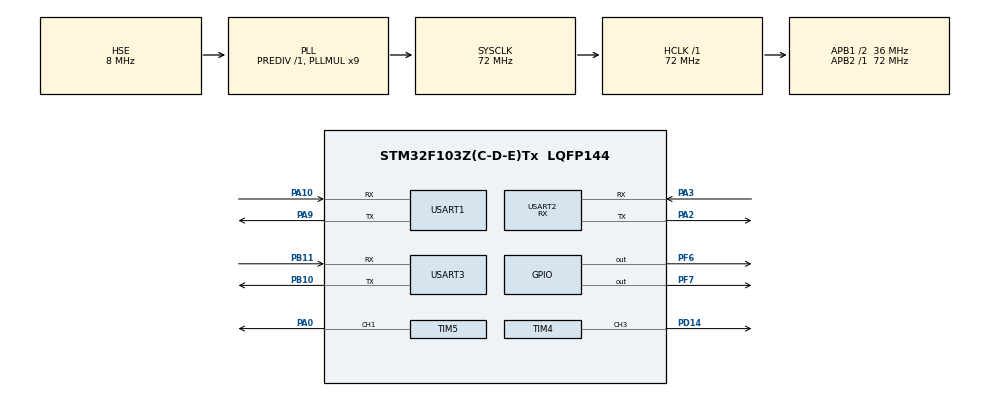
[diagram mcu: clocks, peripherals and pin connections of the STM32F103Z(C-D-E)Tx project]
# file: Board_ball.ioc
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Mcu.Family=STM32F1
Mcu.Name=STM32F103Z(C-D-E)Tx
Mcu.Package=LQFP144
NVIC.PriorityGroup=NVIC_PRIORITYGROUP_2
NVIC.TIM7_IRQn=true\:3\:3\:true\:false\:true\:true\:true\:true
NVIC.USART1_IRQn=true\:3\:2\:true\:false\:true\:true\:true\:true
NVIC.USART2_IRQn=true\:0\:1\:true\:false\:true\:true\:true\:true
NVIC.USART3_IRQn=true\:3\:1\:true\:false\:true\:true\:true\:true
OSC_IN.Mode=HSE-External-Oscillator
OSC_IN.Signal=RCC_OSC_IN
OSC_OUT.Mode=HSE-External-Oscillator
OSC_OUT.Signal=RCC_OSC_OUT
PA0-WKUP.Signal=S_TIM5_CH1
PA10.Mode=Asynchronous
PA10.Signal=USART1_RX
PA13.Mode=Serial_Wire
PA13.Signal=SYS_JTMS-SWDIO
PA14.Mode=Serial_Wire
PA14.Signal=SYS_JTCK-SWCLK
PA2.Mode=Asynchronous
PA2.Signal=USART2_TX
PA3.GPIO_PuPd=GPIO_PULLUP
PA3.Mode=Asynchronous
PA3.Signal=USART2_RX
PA9.Mode=Asynchronous
PA9.Signal=USART1_TX
PB10.Mode=Asynchronous
PB10.Signal=USART3_TX
PB11.Mode=Asynchronous
PB11.Signal=USART3_RX
PD14.Signal=S_TIM4_CH3
PF6.PinState=GPIO_PIN_SET
PF6.Signal=GPIO_Output
PF7.Signal=GPIO_Output
ProjectManager.HeapSize=0x200
ProjectManager.StackSize=0x400
ProjectManager.TargetToolchain=MDK-ARM V5.32
RCC.AHBFreq_Value=72000000
RCC.APB1CLKDivider=RCC_HCLK_DIV2
RCC.APB1Freq_Value=36000000
RCC.APB1TimFreq_Value=72000000
RCC.APB2Freq_Value=72000000
RCC.APB2TimFreq_Value=72000000
RCC.HCLKFreq_Value=72000000
RCC.PLLMUL=RCC_PLL_MUL9
RCC.PLLSourceVirtual=RCC_PLLSOURCE_HSE
RCC.SYSCLKFreq_VALUE=72000000
RCC.SYSCLKSource=RCC_SYSCLKSOURCE_PLLCLK
RCC.USBFreq_Value=72000000
SH.S_TIM4_CH3.0=TIM4_CH3,PWM Generation3 CH3
SH.S_TIM5_CH1.0=TIM5_CH1,PWM Generation1 CH1
TIM4.AutoReloadPreload=TIM_AUTORELOAD_PRELOAD_ENABLE
TIM4.Channel-PWM\ Generation3\ CH3=TIM_CHANNEL_3
TIM4.OCMode_PWM-PWM\ Generation3\ CH3=TIM_OCMODE_PWM1
TIM4.Period=20000-1
TIM4.Prescaler=72-1
TIM4.Pulse-PWM\ Generation3\ CH3=1166
TIM5.AutoReloadPreload=TIM_AUTORELOAD_PRELOAD_ENABLE
TIM5.Channel-PWM\ Generation1\ CH1=TIM_CHANNEL_1
TIM5.Period=20000-1
TIM5.Prescaler=72-1
TIM5.Pulse-PWM\ Generation1\ CH1=1166
TIM7.Period=200-1
TIM7.Prescaler=7200-1
USART1.VirtualMode=VM_ASYNC
USART2.Mode=MODE_RX
USART2.VirtualMode=VM_ASYNC
USART3.VirtualMode=VM_ASYNC
VP_TIM7_VS_ClockSourceINT.Mode=Enable_Timer
board=custom

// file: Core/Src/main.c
/* USER CODE BEGIN Header */
/**
  ******************************************************************************
  * @file           : main.c
  * @brief          : Main program body
  ******************************************************************************
  * @attention
  *
  * Copyright (c) 2023 STMicroelectronics.
  * All rights reserved.
  *
  * This software is licensed under terms that can be found in the LICENSE file
  * in the root directory of this software component.
  * If no LICENSE file comes with this software, it is provided AS-IS.
  *
  ******************************************************************************
  */
/* USER CODE END Header */
#include "main.h"
#include "tim.h"
#include "usart.h"
#include "gpio.h"

/* USER CODE BEGIN Includes */
#include <stdio.h>
#include "bsp_sys.h"
#include "openmv.h"
#include "control.h"
#include "bsp_pid.h"
#include "protocol.h"

#define DEBUG_CONFIG
/* USER CODE END Includes */

/* USER CODE BEGIN PTD */
#define DEBUG_CONFIG
#ifdef DEBUG_CONFIG
	extern UART_HandleTypeDef huart1;
#endif
	extern UART_HandleTypeDef huart3;
/* USER CODE END PTD */

/* USER CODE BEGIN PD */
uint8_t  uart2_rxbuff;
int control_pwm = 0;
/* USER CODE END PD */

void SystemClock_Config(void);

int main(void)
{

  /* MCU Configuration--------------------------------------------------------*/

  /* Reset of all peripherals, Initializes the Flash interface and the Systick. */
  HAL_Init();

  /* Configure the system clock */
  SystemClock_Config();

  /* Initialize all configured peripherals */
  MX_GPIO_Init();
  MX_TIM4_Init();
  MX_USART1_UART_Init();
  MX_USART2_UART_Init();
  MX_TIM7_Init();
  MX_USART3_UART_Init();
  MX_TIM5_Init();
  /* USER CODE BEGIN 2 */
	HAL_TIM_PWM_Start(&htim4,TIM_CHANNEL_3);
	HAL_TIM_PWM_Start(&htim5,TIM_CHANNEL_1);
	HAL_UART_Receive_IT(&huart2,(void *)&uart2_rxbuff,1);

	PID_param_init();
	__HAL_UART_ENABLE_IT(&huart3,UART_IT_RXNE);
	protocol_init();
	HAL_TIM_Base_Start_IT(&htim7);

  /* USER CODE END 2 */

  /* Infinite loop */
  /* USER CODE BEGIN WHILE */
	int count = 0;
  while (1)
  {

    /* USER CODE END WHILE */

    /* USER CODE BEGIN 3 */
//			SET_COMPAER(MID_PWM_1);
//			SET2_COMPAER(MID_PWM_2);
			receiving_process();
//			printf("1");

//			if(count <= 100000)	count++;
//			else{count = 0;printf("err = %f, actual_val = %f, min = %f, inte = %f, diff = %f\n",
//		pid_location2.err,pid_location2.actual_val,pid_location2.err,pid_location2.integral,pid_location2.diff);}

  }
  /* USER CODE END 3 */
}

void SystemClock_Config(void)
{
  RCC_OscInitTypeDef RCC_OscInitStruct = {0};
  RCC_ClkInitTypeDef RCC_ClkInitStruct = {0};

  /** Initializes the RCC Oscillators according to the specified parameters
  * in the RCC_OscInitTypeDef structure.
  */
  RCC_OscInitStruct.OscillatorType = RCC_OSCILLATORTYPE_HSE;
  RCC_OscInitStruct.HSEState = RCC_HSE_ON;
  RCC_OscInitStruct.HSEPredivValue = RCC_HSE_PREDIV_DIV1;
  RCC_OscInitStruct.HSIState = RCC_HSI_ON;
  RCC_OscInitStruct.PLL.PLLState = RCC_PLL_ON;
  RCC_OscInitStruct.PLL.PLLSource = RCC_PLLSOURCE_HSE;
  RCC_OscInitStruct.PLL.PLLMUL = RCC_PLL_MUL9;
  if (HAL_RCC_OscConfig(&RCC_OscInitStruct) != HAL_OK)
  {
    Error_Handler();
  }

  /** Initializes the CPU, AHB and APB buses clocks
  */
  RCC_ClkInitStruct.ClockType = RCC_CLOCKTYPE_HCLK|RCC_CLOCKTYPE_SYSCLK
                              |RCC_CLOCKTYPE_PCLK1|RCC_CLOCKTYPE_PCLK2;
  RCC_ClkInitStruct.SYSCLKSource = RCC_SYSCLKSOURCE_PLLCLK;
  RCC_ClkInitStruct.AHBCLKDivider = RCC_SYSCLK_DIV1;
  RCC_ClkInitStruct.APB1CLKDivider = RCC_HCLK_DIV2;
  RCC_ClkInitStruct.APB2CLKDivider = RCC_HCLK_DIV1;

  if (HAL_RCC_ClockConfig(&RCC_ClkInitStruct, FLASH_LATENCY_2) != HAL_OK)
  {
    Error_Handler();
  }
}

/* USER CODE BEGIN 4 */
extern UART_HandleTypeDef huart2;

int fputc(int ch, FILE *f)
{
  HAL_UART_Transmit(&huart1, (uint8_t *)&ch, 1, 0xffff);
  return ch;
}

int fgetc(FILE *f)
{
  uint8_t ch = 0;
  HAL_UART_Receive(&huart1, &ch, 1, 0xffff);
  return ch;
}

#ifdef DEBUG_CONFIG
//int fputc(int ch, FILE *f)
//{
//  HAL_UART_Transmit(&huart1, (uint8_t *)&ch, 1, 1000);
//  return ch;
//}
//

//int fgetc(FILE *f)
//{
//  uint8_t ch = 0;
//  HAL_UART_Receive(&huart1, &ch, 1, 1000);
//  return ch;
//}
#endif

void HAL_UART_RxCpltCallback(UART_HandleTypeDef *huart)
{
  uint16_t tem;
  if(huart->Instance==USART2)
  {
    tem = uart2_rxbuff;
    Openmv_Receive_Data(tem);
		printf("1");
  }
HAL_UART_Receive_IT(&huart2,(void *)&uart2_rxbuff,1);
}
/* USER CODE END 4 */

void Error_Handler(void)
{
  __disable_irq();
  while (1)
  {
  }
}
